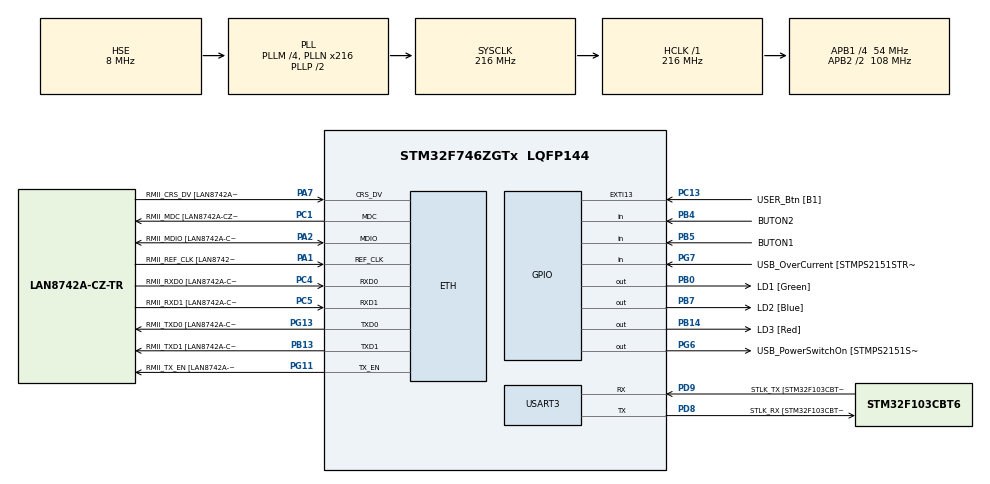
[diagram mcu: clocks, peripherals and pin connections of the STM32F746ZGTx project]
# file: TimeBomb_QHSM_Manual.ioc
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ETH.MediaInterface=ETH_MEDIA_INTERFACE_RMII
ETH.PHY_Name=LAN8742A_PHY_ADDRESS
ETH.PHY_Value=0
ETH.PhyAddress=0
Mcu.Family=STM32F7
Mcu.Name=STM32F746ZGTx
Mcu.Package=LQFP144
NVIC.EXTI15_10_IRQn=true\:0\:0\:false\:false\:true\:true\:true\:true
NVIC.PriorityGroup=NVIC_PRIORITYGROUP_4
PA1.GPIO_Label=RMII_REF_CLK [LAN8742A-CZ-TR_REFCLK0]
PA1.Mode=RMII
PA1.Signal=ETH_REF_CLK
PA13.GPIO_Label=TMS
PA13.Mode=Trace_Asynchronous_SW
PA13.Signal=SYS_JTMS-SWDIO
PA14.GPIO_Label=TCK
PA14.Mode=Trace_Asynchronous_SW
PA14.Signal=SYS_JTCK-SWCLK
PA2.GPIO_Label=RMII_MDIO [LAN8742A-CZ-TR_MDIO]
PA2.Mode=RMII
PA2.Signal=ETH_MDIO
PA7.GPIO_Label=RMII_CRS_DV [LAN8742A-CZ-TR_CRS_DV]
PA7.Mode=RMII
PA7.Signal=ETH_CRS_DV
PB0.GPIO_Label=LD1 [Green]
PB0.Signal=GPIO_Output
PB13.GPIO_Label=RMII_TXD1 [LAN8742A-CZ-TR_TXD1]
PB13.Mode=RMII
PB13.Signal=ETH_TXD1
PB14.GPIO_Label=LD3 [Red]
PB14.Signal=GPIO_Output
PB3.GPIO_Label=SW0
PB3.Mode=Trace_Asynchronous_SW
PB3.Signal=SYS_JTDO-SWO
PB4.GPIO_Label=BUTON2
PB4.GPIO_PuPd=GPIO_PULLDOWN
PB4.Signal=GPIO_Input
PB5.GPIO_Label=BUTON1
PB5.GPIO_PuPd=GPIO_PULLDOWN
PB5.Signal=GPIO_Input
PB7.GPIO_Label=LD2 [Blue]
PB7.Signal=GPIO_Output
PC1.GPIO_Label=RMII_MDC [LAN8742A-CZ-TR_MDC]
PC1.Mode=RMII
PC1.Signal=ETH_MDC
PC13.GPIO_Label=USER_Btn [B1]
PC13.GPIO_ModeDefaultEXTI=GPIO_MODE_IT_RISING_FALLING
PC13.GPIO_PuPd=GPIO_PULLDOWN
PC13.Signal=GPXTI13
PC14/OSC32_IN.Mode=LSE-External-Oscillator
PC14/OSC32_IN.Signal=RCC_OSC32_IN
PC15/OSC32_OUT.Mode=LSE-External-Oscillator
PC15/OSC32_OUT.Signal=RCC_OSC32_OUT
PC4.GPIO_Label=RMII_RXD0 [LAN8742A-CZ-TR_RXD0]
PC4.Mode=RMII
PC4.Signal=ETH_RXD0
PC5.GPIO_Label=RMII_RXD1 [LAN8742A-CZ-TR_RXD1]
PC5.Mode=RMII
PC5.Signal=ETH_RXD1
PD8.GPIO_Label=STLK_RX [STM32F103CBT6_PA3]
PD8.Mode=Asynchronous
PD8.Signal=USART3_TX
PD9.GPIO_Label=STLK_TX [STM32F103CBT6_PA2]
PD9.Mode=Asynchronous
PD9.Signal=USART3_RX
PG11.GPIO_Label=RMII_TX_EN [LAN8742A-CZ-TR_TXEN]
PG11.Mode=RMII
PG11.Signal=ETH_TX_EN
PG13.GPIO_Label=RMII_TXD0 [LAN8742A-CZ-TR_TXD0]
PG13.Mode=RMII
PG13.Signal=ETH_TXD0
PG6.GPIO_Label=USB_PowerSwitchOn [STMPS2151STR_EN]
PG6.Signal=GPIO_Output
PG7.GPIO_Label=USB_OverCurrent [STMPS2151STR_FAULT]
PG7.Signal=GPIO_Input
PH0/OSC_IN.GPIO_Label=MCO [STM32F103CBT6_PA8]
PH0/OSC_IN.Mode=HSE-External-Clock-Source
PH0/OSC_IN.Signal=RCC_OSC_IN
PH1/OSC_OUT.Mode=HSE-External-Clock-Source
PH1/OSC_OUT.Signal=RCC_OSC_OUT
ProjectManager.HeapSize=0x200
ProjectManager.StackSize=0x400
ProjectManager.TargetToolchain=STM32CubeIDE
RCC.48MHZClocksFreq_Value=24000000
RCC.AHBFreq_Value=216000000
RCC.APB1CLKDivider=RCC_HCLK_DIV4
RCC.APB1Freq_Value=54000000
RCC.APB1TimFreq_Value=108000000
RCC.APB2CLKDivider=RCC_HCLK_DIV2
RCC.APB2Freq_Value=108000000
RCC.APB2TimCLKDivider=1
RCC.APB2TimFreq_Value=108000000
RCC.CortexFreq_Value=216000000
RCC.HCLKFreq_Value=216000000
RCC.HSE_VALUE=8000000
RCC.HSI_VALUE=16000000
RCC.PLLM=4
RCC.PLLMUL=RCC_PLL_MUL9
RCC.PLLN=216
RCC.PLLQ=9
RCC.PLLSourceVirtual=RCC_PLLSOURCE_HSE
RCC.PRESCALERUSB=RCC_USBCLKSOURCE_PLL_DIV1_5
RCC.SYSCLKFreq_VALUE=216000000
RCC.SYSCLKSource=RCC_SYSCLKSOURCE_PLLCLK
RCC.SYSCLKSourceVirtual=RCC_SYSCLKSOURCE_PLLCLK
RCC.USBFreq_Value=48000000
RCC.VCOOutputFreq_Value=432000000
USART3.VirtualMode-Asynchronous=VM_ASYNC
board=NUCLEO-F746ZG

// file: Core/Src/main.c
/* USER CODE BEGIN Header */
/**
  ******************************************************************************
  * @file           : main.c
  * @brief          : Main program body
  ******************************************************************************
  * @attention
  *
  * Copyright (c) 2022 STMicroelectronics.
  * All rights reserved.
  *
  * This software is licensed under terms that can be found in the LICENSE file
  * in the root directory of this software component.
  * If no LICENSE file comes with this software, it is provided AS-IS.
  *
  ******************************************************************************
  */
/* USER CODE END Header */
#include "main.h"

/* USER CODE BEGIN Includes */
#include "stdio.h"
#include "stdlib.h"  /*For malloc function*/
#include "stdbool.h"
#include "retarget.h"
#include <TimeBomb.h>

Q_DEFINE_THIS_MODULE("main");

/* USER CODE END Includes */

/* USER CODE BEGIN PD */

#define STACK_SIZE 260

/* The BlinkyButton AO ============================================================*/
static QEvt const *TimeBomb_queue[10];
static TimeBomb timebomb;
QActive *AO_TimeBomb = &timebomb.super;
/* USER CODE END PD */

ETH_HandleTypeDef heth;

UART_HandleTypeDef huart3;

void SystemClock_Config(void);
static void MX_GPIO_Init(void);
static void MX_ETH_Init(void);
static void MX_USART3_UART_Init(void);
/* USER CODE BEGIN PFP */

void Q_onAssert(char const *module, int loc);

/* USER CODE END PFP */

int main(void)
{

  /* MCU Configuration--------------------------------------------------------*/

  /* Reset of all peripherals, Initializes the Flash interface and the Systick. */
  HAL_Init();

  /* Configure the system clock */
  SystemClock_Config();

  /* Initialize all configured peripherals */
  MX_GPIO_Init();
//  MX_ETH_Init();
  MX_USART3_UART_Init();
  /* USER CODE BEGIN 2 */
  RetargetInit(&huart3);

  QF_init();
  TimeBomb_ctor(&timebomb);
  QACTIVE_START(AO_TimeBomb,2U,TimeBomb_queue,sizeof(TimeBomb_queue)/sizeof(TimeBomb_queue[0]),(void*)0,0U,(void*)0);
  QF_run();
  return 0;

  /* USER CODE END 2 */

  /* Infinite loop */
  while (1)
  {

  }
}

void SystemClock_Config(void)
{
  RCC_OscInitTypeDef RCC_OscInitStruct = {0};
  RCC_ClkInitTypeDef RCC_ClkInitStruct = {0};

  /** Configure LSE Drive Capability
  */
  HAL_PWR_EnableBkUpAccess();

  /** Configure the main internal regulator output voltage
  */
  __HAL_RCC_PWR_CLK_ENABLE();
  __HAL_PWR_VOLTAGESCALING_CONFIG(PWR_REGULATOR_VOLTAGE_SCALE1);

  /** Initializes the RCC Oscillators according to the specified parameters
  * in the RCC_OscInitTypeDef structure.
  */
  RCC_OscInitStruct.OscillatorType = RCC_OSCILLATORTYPE_HSE;
  RCC_OscInitStruct.HSEState = RCC_HSE_BYPASS;
  RCC_OscInitStruct.PLL.PLLState = RCC_PLL_ON;
  RCC_OscInitStruct.PLL.PLLSource = RCC_PLLSOURCE_HSE;
  RCC_OscInitStruct.PLL.PLLM = 4;
  RCC_OscInitStruct.PLL.PLLN = 216;
  RCC_OscInitStruct.PLL.PLLP = RCC_PLLP_DIV2;
  RCC_OscInitStruct.PLL.PLLQ = 9;
  if (HAL_RCC_OscConfig(&RCC_OscInitStruct) != HAL_OK)
  {
    Error_Handler();
  }

  /** Activate the Over-Drive mode
  */
  if (HAL_PWREx_EnableOverDrive() != HAL_OK)
  {
    Error_Handler();
  }

  /** Initializes the CPU, AHB and APB buses clocks
  */
  RCC_ClkInitStruct.ClockType = RCC_CLOCKTYPE_HCLK|RCC_CLOCKTYPE_SYSCLK
                              |RCC_CLOCKTYPE_PCLK1|RCC_CLOCKTYPE_PCLK2;
  RCC_ClkInitStruct.SYSCLKSource = RCC_SYSCLKSOURCE_PLLCLK;
  RCC_ClkInitStruct.AHBCLKDivider = RCC_SYSCLK_DIV1;
  RCC_ClkInitStruct.APB1CLKDivider = RCC_HCLK_DIV4;
  RCC_ClkInitStruct.APB2CLKDivider = RCC_HCLK_DIV2;

  if (HAL_RCC_ClockConfig(&RCC_ClkInitStruct, FLASH_LATENCY_7) != HAL_OK)
  {
    Error_Handler();
  }
}

static void MX_ETH_Init(void)
{

   static uint8_t MACAddr[6];

  heth.Instance = ETH;
  heth.Init.AutoNegotiation = ETH_AUTONEGOTIATION_ENABLE;
  heth.Init.Speed = ETH_SPEED_100M;
  heth.Init.DuplexMode = ETH_MODE_FULLDUPLEX;
  heth.Init.PhyAddress = LAN8742A_PHY_ADDRESS;
  MACAddr[0] = 0x00;
  MACAddr[1] = 0x80;
  MACAddr[2] = 0xE1;
  MACAddr[3] = 0x00;
  MACAddr[4] = 0x00;
  MACAddr[5] = 0x00;
  heth.Init.MACAddr = &MACAddr[0];
  heth.Init.RxMode = ETH_RXPOLLING_MODE;
  heth.Init.ChecksumMode = ETH_CHECKSUM_BY_HARDWARE;
  heth.Init.MediaInterface = ETH_MEDIA_INTERFACE_RMII;

  if (HAL_ETH_Init(&heth) != HAL_OK)
  {
    Error_Handler();
  }

}

static void MX_USART3_UART_Init(void)
{

  huart3.Instance = USART3;
  huart3.Init.BaudRate = 115200;
  huart3.Init.WordLength = UART_WORDLENGTH_8B;
  huart3.Init.StopBits = UART_STOPBITS_1;
  huart3.Init.Parity = UART_PARITY_NONE;
  huart3.Init.Mode = UART_MODE_TX_RX;
  huart3.Init.HwFlowCtl = UART_HWCONTROL_NONE;
  huart3.Init.OverSampling = UART_OVERSAMPLING_16;
  huart3.Init.OneBitSampling = UART_ONE_BIT_SAMPLE_DISABLE;
  huart3.AdvancedInit.AdvFeatureInit = UART_ADVFEATURE_NO_INIT;
  if (HAL_UART_Init(&huart3) != HAL_OK)
  {
    Error_Handler();
  }

}

static void MX_GPIO_Init(void)
{
  GPIO_InitTypeDef GPIO_InitStruct = {0};

  /* GPIO Ports Clock Enable */
  __HAL_RCC_GPIOC_CLK_ENABLE();
  __HAL_RCC_GPIOH_CLK_ENABLE();
  __HAL_RCC_GPIOA_CLK_ENABLE();
  __HAL_RCC_GPIOB_CLK_ENABLE();
  __HAL_RCC_GPIOD_CLK_ENABLE();
  __HAL_RCC_GPIOG_CLK_ENABLE();

  /*Configure GPIO pin Output Level */
  HAL_GPIO_WritePin(GPIOB, LD1_Pin|LD3_Pin|LD2_Pin, GPIO_PIN_RESET);

  /*Configure GPIO pin Output Level */
  HAL_GPIO_WritePin(USB_PowerSwitchOn_GPIO_Port, USB_PowerSwitchOn_Pin, GPIO_PIN_RESET);

  /*Configure GPIO pin : USER_Btn_Pin */
  GPIO_InitStruct.Pin = USER_Btn_Pin;
  GPIO_InitStruct.Mode = GPIO_MODE_IT_RISING_FALLING;
  GPIO_InitStruct.Pull = GPIO_PULLDOWN;
  HAL_GPIO_Init(USER_Btn_GPIO_Port, &GPIO_InitStruct);

  /*Configure GPIO pins : LD1_Pin LD3_Pin LD2_Pin */
  GPIO_InitStruct.Pin = LD1_Pin|LD3_Pin|LD2_Pin;
  GPIO_InitStruct.Mode = GPIO_MODE_OUTPUT_PP;
  GPIO_InitStruct.Pull = GPIO_NOPULL;
  GPIO_InitStruct.Speed = GPIO_SPEED_FREQ_LOW;
  HAL_GPIO_Init(GPIOB, &GPIO_InitStruct);

  /*Configure GPIO pin : USB_PowerSwitchOn_Pin */
  GPIO_InitStruct.Pin = USB_PowerSwitchOn_Pin;
  GPIO_InitStruct.Mode = GPIO_MODE_OUTPUT_PP;
  GPIO_InitStruct.Pull = GPIO_NOPULL;
  GPIO_InitStruct.Speed = GPIO_SPEED_FREQ_LOW;
  HAL_GPIO_Init(USB_PowerSwitchOn_GPIO_Port, &GPIO_InitStruct);

  /*Configure GPIO pin : USB_OverCurrent_Pin */
  GPIO_InitStruct.Pin = USB_OverCurrent_Pin;
  GPIO_InitStruct.Mode = GPIO_MODE_INPUT;
  GPIO_InitStruct.Pull = GPIO_NOPULL;
  HAL_GPIO_Init(USB_OverCurrent_GPIO_Port, &GPIO_InitStruct);

  /*Configure GPIO pins : BUTON2_Pin BUTON1_Pin */
  GPIO_InitStruct.Pin = BUTON2_Pin|BUTON1_Pin;
  GPIO_InitStruct.Mode = GPIO_MODE_INPUT;
  GPIO_InitStruct.Pull = GPIO_PULLDOWN;
  HAL_GPIO_Init(GPIOB, &GPIO_InitStruct);

  /* EXTI interrupt init*/
  HAL_NVIC_SetPriority(EXTI15_10_IRQn, 0, 0);
  HAL_NVIC_EnableIRQ(EXTI15_10_IRQn);

}

/* USER CODE BEGIN 4 */

void Q_onAssert(char const *module, int loc) {
    /* TBD: damage control */
    (void)module; /* avoid the "unused parameter" compiler warning */
    (void)loc;    /* avoid the "unused parameter" compiler warning */
    NVIC_SystemReset();
}

/**
  * @brief  SYSTICK callback.
  * @retval None
  */
void HAL_SYSTICK_Callback(void)
{
  /* NOTE : This function Should not be modified, when the callback is needed,
            the HAL_SYSTICK_Callback could be implemented in the user file
   */

	App_TimeTickHook();
	__NOP();
}

/* USER CODE END 4 */

void Error_Handler(void)
{
  __disable_irq();
  while (1)
  {
  }
}
